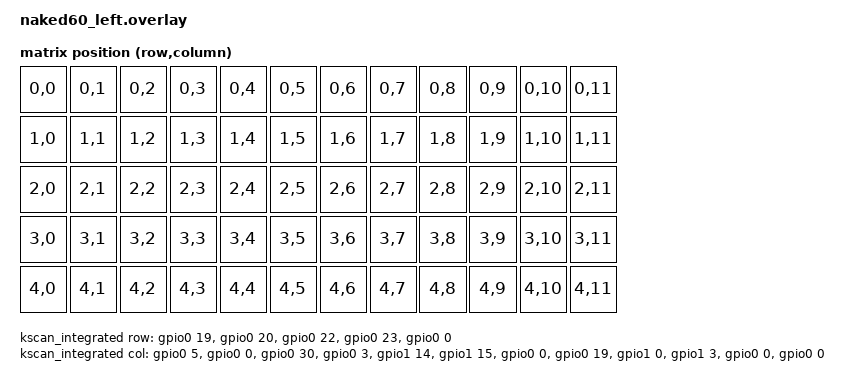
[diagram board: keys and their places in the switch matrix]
#include <dt-bindings/zmk/matrix_transform.h>
#include "layouts.dtsi" // physical_layout0 が定義されているファイル

/ {
    chosen {
        // 一体型キーボードとして、物理レイアウト全体を使用
        zmk,physical-layout = &physical_layout0;
    };
    
    // 60キー一体型キーボード用のマトリクス変換
    keymap_transform_integrated: keymap_transform_integrated {
        compatible = "zmk,matrix-transform";
        
        // 5行 x 12列を想定 (キーボードの行数と、左右合わせた列数)
        columns = <12>;
        rows = <5>;
        
        // 物理レイアウトのキーのインデックス (0から59まで) を、
        // 5x12の電子マトリクスに順番通りにマッピングします。
        // ※ 最初のDTSの定義から、5行 x 12列 = 60キー分を抽出
        map = <
            // 1行目 (y=0): 左6キー + 右6キー 
            RC(0,0) RC(0,1) RC(0,2) RC(0,3) RC(0,4) RC(0,5) RC(0,6) RC(0,7) RC(0,8) RC(0,9) RC(0,10) RC(0,11)
            // 2行目 (y=100): 左6キー + 右6キー
            RC(1,0) RC(1,1) RC(1,2) RC(1,3) RC(1,4) RC(1,5) RC(1,6) RC(1,7) RC(1,8) RC(1,9) RC(1,10) RC(1,11)
            // 3行目 (y=200): 左6キー + 右6キー
            RC(2,0) RC(2,1) RC(2,2) RC(2,3) RC(2,4) RC(2,5) RC(2,6) RC(2,7) RC(2,8) RC(2,9) RC(2,10) RC(2,11)
            // 4行目 (y=300): 左6キー + 右6キー
            RC(3,0) RC(3,1) RC(3,2) RC(3,3) RC(3,4) RC(3,5) RC(3,6) RC(3,7) RC(3,8) RC(3,9) RC(3,10) RC(3,11)
            // 5行目 (y=400): 12キー
            RC(4,0) RC(4,1) RC(4,2) RC(4,3) RC(4,4) RC(4,5) RC(4,6) RC(4,7) RC(4,8) RC(4,9) RC(4,10) RC(4,11)
        >;
        
        // 物理レイアウトの最初のキーから使用するため、オフセットは 0
        col-offset = <0>;
    };

    // kscan (電子マトリクス配線) の定義
    kscan_integrated: kscan {
        compatible = "zmk,kscan-gpio-matrix";
        wakeup-source;
        diode-direction = "col2row";
        
        // 5行分のGPIOピン
        // 2つ目の質問の kscan0 ノードの row-gpios を流用
        row-gpios
            = <&gpio0 19 (GPIO_ACTIVE_HIGH | GPIO_PULL_DOWN)>
             ,<&gpio0 20 (GPIO_ACTIVE_HIGH | GPIO_PULL_DOWN)>
             ,<&gpio0 22 (GPIO_ACTIVE_HIGH | GPIO_PULL_DOWN)>
             ,<&gpio0 23 (GPIO_ACTIVE_HIGH | GPIO_PULL_DOWN)>
             ,<&gpio0 0 (GPIO_ACTIVE_HIGH | GPIO_PULL_DOWN)>
             ;
        
        // 12列分のGPIOピン
        // 2つ目の質問の kscan0 ノードの col-gpios を流用
        col-gpios
            = <&gpio0 5 GPIO_ACTIVE_HIGH>
             ,<&gpio0 0 GPIO_ACTIVE_HIGH>
             ,<&gpio0 30 GPIO_ACTIVE_HIGH>
             ,<&gpio0 3 GPIO_ACTIVE_HIGH>
             ,<&gpio1 14 GPIO_ACTIVE_HIGH>
             ,<&gpio1 15 GPIO_ACTIVE_HIGH>
             ,<&gpio0 0 GPIO_ACTIVE_HIGH> // 右手側 1列目 (物理レイアウトの x=800)
             ,<&gpio0 19 GPIO_ACTIVE_HIGH>
             ,<&gpio1 0 GPIO_ACTIVE_HIGH>
             ,<&gpio1 3 GPIO_ACTIVE_HIGH>
             ,<&gpio0 0 GPIO_ACTIVE_HIGH>
             ,<&gpio0 0 GPIO_ACTIVE_HIGH> // 右手側 6列目 (物理レイアウトの x=1300)
             ;
    };
};

// 物理レイアウトノードに、この一体型の設定を適用する
&physical_layout0 {
    kscan = <&kscan_integrated>;
    transform = <&keymap_transform_integrated>;
};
